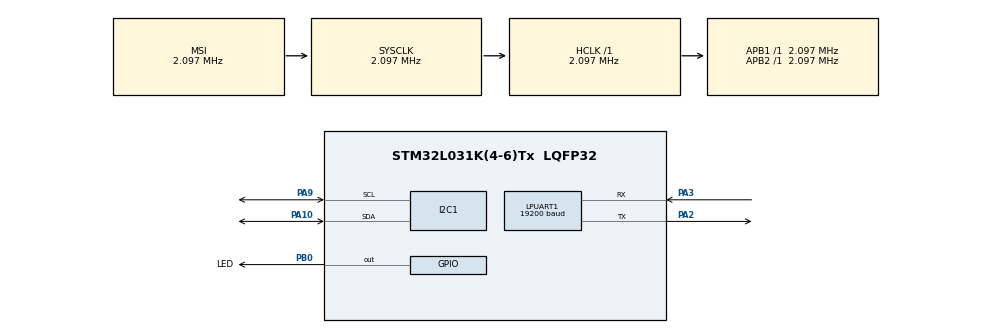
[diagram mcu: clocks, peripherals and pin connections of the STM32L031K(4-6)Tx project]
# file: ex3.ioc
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I2C1.OwnAddress=0x28
LPUART1.BaudRate=19200
LPUART1.WordLength=UART_WORDLENGTH_8B
Mcu.Family=STM32L0
Mcu.Name=STM32L031K(4-6)Tx
Mcu.Package=LQFP32
NVIC.I2C1_IRQn=true\:0\:0\:false\:false\:true\:true\:true\:true
PA10.Mode=I2C
PA10.Signal=I2C1_SDA
PA2.Mode=Asynchronous
PA2.Signal=LPUART1_TX
PA3.Mode=Asynchronous
PA3.Signal=LPUART1_RX
PA9.Mode=I2C
PA9.Signal=I2C1_SCL
PB0.GPIO_Label=LED
PB0.Signal=GPIO_Output
ProjectManager.HeapSize=0x200
ProjectManager.StackSize=0x400
ProjectManager.TargetToolchain=Makefile
RCC.AHBFreq_Value=2097000
RCC.APB1Freq_Value=2097000
RCC.APB1TimFreq_Value=2097000
RCC.APB2Freq_Value=2097000
RCC.APB2TimFreq_Value=2097000
RCC.HSE_VALUE=8000000
RCC.HSI16_VALUE=16000000
RCC.HSI_VALUE=16000000
RCC.LSE_VALUE=32768
RCC.MSI_VALUE=2097000
RCC.SYSCLKFreq_VALUE=2097000
RCC.VCOOutputFreq_Value=48000000
board=custom

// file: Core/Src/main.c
/* USER CODE BEGIN Header */
/**
  ******************************************************************************
  * @file           : main.c
  * @brief          : Main program body
  ******************************************************************************
  * @attention
  *
  * Copyright (c) 2024 STMicroelectronics.
  * All rights reserved.
  *
  * This software is licensed under terms that can be found in the LICENSE file
  * in the root directory of this software component.
  * If no LICENSE file comes with this software, it is provided AS-IS.
  *
  ******************************************************************************
  */
/* USER CODE END Header */
#include "main.h"

I2C_HandleTypeDef hi2c1;

UART_HandleTypeDef hlpuart1;

void SystemClock_Config(void);
static void MX_GPIO_Init(void);
static void MX_I2C1_Init(void);
static void MX_LPUART1_UART_Init(void);

int main(void)
{

  /* MCU Configuration--------------------------------------------------------*/

  /* Reset of all peripherals, Initializes the Flash interface and the Systick. */
  HAL_Init();

  /* Configure the system clock */
  SystemClock_Config();

  /* Initialize all configured peripherals */
  MX_GPIO_Init();
  MX_I2C1_Init();
  MX_LPUART1_UART_Init();
  /* USER CODE BEGIN 2 */

  uint8_t data[2] = {0x02, 0x00};
  data[0] = 0x02;
  data[1] = 0x00;
  HAL_I2C_Master_Transmit(&hi2c1, 0x28<<1, &data, 2, 100);
  HAL_Delay(5);

  /* USER CODE END 2 */

  /* Infinite loop */
  while (1)
  {
    /* USER CODE BEGIN 3 */
    HAL_UART_Transmit(&hlpuart1, "setting led\n\r", 14, 100);
    HAL_GPIO_WritePin(LED_GPIO_Port, LED_Pin, GPIO_PIN_SET);

    for (uint8_t step = 0; step < 0x80; ++step) {
      data[0] = 0x00;
      data[1] = step;
      HAL_I2C_Master_Transmit(&hi2c1, 0x28<<1, &data, 2, 100);
      HAL_Delay(50);
    }

    HAL_UART_Transmit(&hlpuart1, "unsetting led\n\r", 16, 100);
    HAL_GPIO_WritePin(LED_GPIO_Port, LED_Pin, GPIO_PIN_RESET);

    for (uint8_t step = 0x7F; step <= 0x7F && step >= 0; --step) {
      data[0] = 0x00;
      data[1] = step;
      HAL_I2C_Master_Transmit(&hi2c1, 0x28<<1, &data, 2, 100);
      HAL_Delay(50);
    }
  }
  /* USER CODE END 3 */
}

void SystemClock_Config(void)
{
  RCC_OscInitTypeDef RCC_OscInitStruct = {0};
  RCC_ClkInitTypeDef RCC_ClkInitStruct = {0};
  RCC_PeriphCLKInitTypeDef PeriphClkInit = {0};

  /** Configure the main internal regulator output voltage
  */
  __HAL_PWR_VOLTAGESCALING_CONFIG(PWR_REGULATOR_VOLTAGE_SCALE1);

  /** Initializes the RCC Oscillators according to the specified parameters
  * in the RCC_OscInitTypeDef structure.
  */
  RCC_OscInitStruct.OscillatorType = RCC_OSCILLATORTYPE_MSI;
  RCC_OscInitStruct.MSIState = RCC_MSI_ON;
  RCC_OscInitStruct.MSICalibrationValue = 0;
  RCC_OscInitStruct.MSIClockRange = RCC_MSIRANGE_5;
  RCC_OscInitStruct.PLL.PLLState = RCC_PLL_NONE;
  if (HAL_RCC_OscConfig(&RCC_OscInitStruct) != HAL_OK)
  {
    Error_Handler();
  }

  /** Initializes the CPU, AHB and APB buses clocks
  */
  RCC_ClkInitStruct.ClockType = RCC_CLOCKTYPE_HCLK|RCC_CLOCKTYPE_SYSCLK
                              |RCC_CLOCKTYPE_PCLK1|RCC_CLOCKTYPE_PCLK2;
  RCC_ClkInitStruct.SYSCLKSource = RCC_SYSCLKSOURCE_MSI;
  RCC_ClkInitStruct.AHBCLKDivider = RCC_SYSCLK_DIV1;
  RCC_ClkInitStruct.APB1CLKDivider = RCC_HCLK_DIV1;
  RCC_ClkInitStruct.APB2CLKDivider = RCC_HCLK_DIV1;

  if (HAL_RCC_ClockConfig(&RCC_ClkInitStruct, FLASH_LATENCY_0) != HAL_OK)
  {
    Error_Handler();
  }
  PeriphClkInit.PeriphClockSelection = RCC_PERIPHCLK_LPUART1|RCC_PERIPHCLK_I2C1;
  PeriphClkInit.Lpuart1ClockSelection = RCC_LPUART1CLKSOURCE_PCLK1;
  PeriphClkInit.I2c1ClockSelection = RCC_I2C1CLKSOURCE_PCLK1;
  if (HAL_RCCEx_PeriphCLKConfig(&PeriphClkInit) != HAL_OK)
  {
    Error_Handler();
  }
}

static void MX_I2C1_Init(void)
{

  hi2c1.Instance = I2C1;
  hi2c1.Init.Timing = 0x00000708;
  hi2c1.Init.OwnAddress1 = 80;
  hi2c1.Init.AddressingMode = I2C_ADDRESSINGMODE_7BIT;
  hi2c1.Init.DualAddressMode = I2C_DUALADDRESS_DISABLE;
  hi2c1.Init.OwnAddress2 = 0;
  hi2c1.Init.OwnAddress2Masks = I2C_OA2_NOMASK;
  hi2c1.Init.GeneralCallMode = I2C_GENERALCALL_DISABLE;
  hi2c1.Init.NoStretchMode = I2C_NOSTRETCH_DISABLE;
  if (HAL_I2C_Init(&hi2c1) != HAL_OK)
  {
    Error_Handler();
  }

  /** Configure Analogue filter
  */
  if (HAL_I2CEx_ConfigAnalogFilter(&hi2c1, I2C_ANALOGFILTER_ENABLE) != HAL_OK)
  {
    Error_Handler();
  }

  /** Configure Digital filter
  */
  if (HAL_I2CEx_ConfigDigitalFilter(&hi2c1, 0) != HAL_OK)
  {
    Error_Handler();
  }

}

static void MX_LPUART1_UART_Init(void)
{

  hlpuart1.Instance = LPUART1;
  hlpuart1.Init.BaudRate = 19200;
  hlpuart1.Init.WordLength = UART_WORDLENGTH_8B;
  hlpuart1.Init.StopBits = UART_STOPBITS_1;
  hlpuart1.Init.Parity = UART_PARITY_NONE;
  hlpuart1.Init.Mode = UART_MODE_TX_RX;
  hlpuart1.Init.HwFlowCtl = UART_HWCONTROL_NONE;
  hlpuart1.Init.OneBitSampling = UART_ONE_BIT_SAMPLE_DISABLE;
  hlpuart1.AdvancedInit.AdvFeatureInit = UART_ADVFEATURE_NO_INIT;
  if (HAL_UART_Init(&hlpuart1) != HAL_OK)
  {
    Error_Handler();
  }

}

static void MX_GPIO_Init(void)
{
  GPIO_InitTypeDef GPIO_InitStruct = {0};

  /* GPIO Ports Clock Enable */
  __HAL_RCC_GPIOA_CLK_ENABLE();
  __HAL_RCC_GPIOB_CLK_ENABLE();

  /*Configure GPIO pin Output Level */
  HAL_GPIO_WritePin(LED_GPIO_Port, LED_Pin, GPIO_PIN_RESET);

  /*Configure GPIO pin : LED_Pin */
  GPIO_InitStruct.Pin = LED_Pin;
  GPIO_InitStruct.Mode = GPIO_MODE_OUTPUT_PP;
  GPIO_InitStruct.Pull = GPIO_NOPULL;
  GPIO_InitStruct.Speed = GPIO_SPEED_FREQ_LOW;
  HAL_GPIO_Init(LED_GPIO_Port, &GPIO_InitStruct);

}

void Error_Handler(void)
{
  __disable_irq();
  while (1)
  {
  }
}
